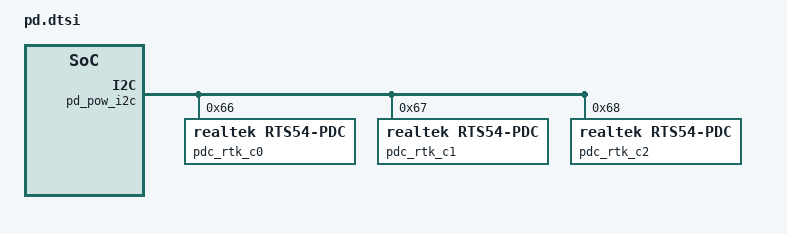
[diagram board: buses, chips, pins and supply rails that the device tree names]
/* Copyright 2024 The ChromiumOS Authors
 * Use of this source code is governed by a BSD-style license that can be
 * found in the LICENSE file.
 */

#include <dt-bindings/gpio_defines.h>

/* typec-aic1-power */
&pd_pow_i2c {
	pdc_rtk_c0: rts54-pdc@66 {
		compatible = "realtek,rts54-pdc";
		reg = <0x66>;
		irq-gpios = <PD_POW_IRQ_GPIO GPIO_ACTIVE_LOW>;
		ccd;
		usb4-capable-as-host;
	};
	pdc_rtk_c1: rts54-pdc@67 {
		compatible = "realtek,rts54-pdc";
		reg = <0x67>;
		irq-gpios = <PD_POW_IRQ_GPIO GPIO_ACTIVE_LOW>;
		usb4-capable-as-host;
		no-fw-update;
	};
	pdc_rtk_c2: rts54-pdc@68 {
		compatible = "realtek,rts54-pdc";
		reg = <0x68>;
		irq-gpios = <PD_POW_IRQ_GPIO GPIO_ACTIVE_LOW>;
		usb4-capable-as-host;
	};
};

&gpio_pdc_pow_irq {
	no-auto-init;
};
